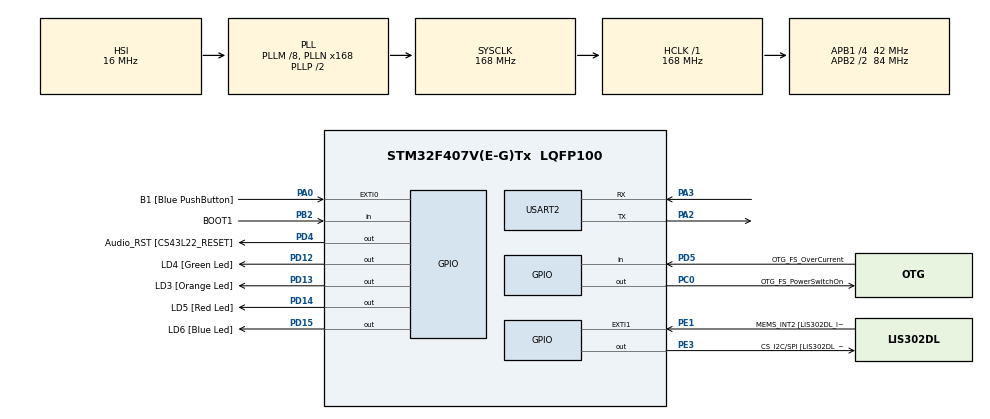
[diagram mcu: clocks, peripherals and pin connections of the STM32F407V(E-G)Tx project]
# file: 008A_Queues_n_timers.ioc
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Mcu.Family=STM32F4
Mcu.Name=STM32F407V(E-G)Tx
Mcu.Package=LQFP100
NVIC.PriorityGroup=NVIC_PRIORITYGROUP_4
NVIC.TIM6_DAC_IRQn=true\:0\:0\:false\:false\:true\:false\:true
NVIC.TimeBase=TIM6_DAC_IRQn
NVIC.TimeBaseIP=TIM6
NVIC.USART2_IRQn=true\:6\:0\:true\:false\:true\:true\:true
PA0-WKUP.GPIO_Label=B1 [Blue PushButton]
PA0-WKUP.Signal=GPXTI0
PA10.GPIO_Label=OTG_FS_ID
PA10.GPIO_Mode=GPIO_MODE_AF_PP
PA10.GPIO_PuPd=GPIO_NOPULL
PA10.GPIO_Speed=GPIO_SPEED_FREQ_LOW
PA10.Signal=USB_OTG_FS_ID
PA11.GPIO_Label=OTG_FS_DM
PA11.GPIO_Mode=GPIO_MODE_AF_PP
PA11.GPIO_PuPd=GPIO_NOPULL
PA11.GPIO_Speed=GPIO_SPEED_FREQ_LOW
PA11.Signal=USB_OTG_FS_DM
PA12.GPIO_Label=OTG_FS_DP
PA12.GPIO_Mode=GPIO_MODE_AF_PP
PA12.GPIO_PuPd=GPIO_NOPULL
PA12.GPIO_Speed=GPIO_SPEED_FREQ_LOW
PA12.Signal=USB_OTG_FS_DP
PA13.GPIO_Label=SWDIO
PA13.Signal=SYS_JTMS-SWDIO
PA14.GPIO_Label=SWCLK
PA14.Signal=SYS_JTCK-SWCLK
PA2.Mode=Asynchronous
PA2.Signal=USART2_TX
PA3.Mode=Asynchronous
PA3.Signal=USART2_RX
PA4.GPIO_Label=I2S3_WS [CS43L22_LRCK]
PA4.GPIO_Mode=GPIO_MODE_AF_PP
PA4.GPIO_PuPd=GPIO_NOPULL
PA4.GPIO_Speed=GPIO_SPEED_FREQ_LOW
PA4.Signal=I2S3_WS
PA5.GPIO_Label=SPI1_SCK [LIS302DL_SCL/SPC]
PA5.GPIO_Mode=GPIO_MODE_AF_PP
PA5.GPIO_PuPd=GPIO_NOPULL
PA5.GPIO_Speed=GPIO_SPEED_FREQ_LOW
PA5.Signal=SPI1_SCK
PA6.GPIO_Label=SPI1_MISO [LIS302DL_SDO]
PA6.GPIO_Mode=GPIO_MODE_AF_PP
PA6.GPIO_PuPd=GPIO_NOPULL
PA6.GPIO_Speed=GPIO_SPEED_FREQ_LOW
PA6.Signal=SPI1_MISO
PA7.GPIO_Label=SPI1_MOSI [LIS302DL_SDA/SDI/SDO]
PA7.GPIO_Mode=GPIO_MODE_AF_PP
PA7.GPIO_PuPd=GPIO_NOPULL
PA7.GPIO_Speed=GPIO_SPEED_FREQ_LOW
PA7.Signal=SPI1_MOSI
PA9.GPIO_Label=VBUS_FS
PA9.GPIO_Mode=GPIO_MODE_INPUT
PA9.GPIO_PuPd=GPIO_NOPULL
PA9.Signal=USB_OTG_FS_VBUS
PB10.GPIO_Label=CLK_IN [MP45DT02_CLK]
PB10.GPIO_Mode=GPIO_MODE_AF_PP
PB10.GPIO_PuPd=GPIO_NOPULL
PB10.GPIO_Speed=GPIO_SPEED_FREQ_LOW
PB10.Signal=I2S2_CK
PB2.GPIO_Label=BOOT1
PB2.GPIO_Mode=GPIO_MODE_INPUT
PB2.GPIO_PuPd=GPIO_NOPULL
PB2.Signal=GPIO_Input
PB3.GPIO_Label=SWO
PB3.Signal=SYS_JTDO-SWO
PB6.GPIO_Label=Audio_SCL [CS43L22_SCL]
PB6.GPIO_Mode=GPIO_MODE_AF_OD
PB6.GPIO_PuPd=GPIO_NOPULL
PB6.GPIO_Speed=GPIO_SPEED_FREQ_LOW
PB6.Signal=I2C1_SCL
PB9.GPIO_Label=Audio_SDA [CS43L22_SDA]
PB9.GPIO_Mode=GPIO_MODE_AF_OD
PB9.GPIO_PuPd=GPIO_NOPULL
PB9.GPIO_Speed=GPIO_SPEED_FREQ_LOW
PB9.Signal=I2C1_SDA
PC0.GPIO_Label=OTG_FS_PowerSwitchOn
PC0.GPIO_PuPd=GPIO_NOPULL
PC0.GPIO_Speed=GPIO_SPEED_FREQ_LOW
PC0.PinState=GPIO_PIN_SET
PC0.Signal=GPIO_Output
PC10.GPIO_Label=I2S3_SCK [CS43L22_SCLK]
PC10.GPIO_Mode=GPIO_MODE_AF_PP
PC10.GPIO_PuPd=GPIO_NOPULL
PC10.GPIO_Speed=GPIO_SPEED_FREQ_LOW
PC10.Signal=I2S3_CK
PC12.GPIO_Label=I2S3_SD [CS43L22_SDIN]
PC12.GPIO_Mode=GPIO_MODE_AF_PP
PC12.GPIO_PuPd=GPIO_NOPULL
PC12.GPIO_Speed=GPIO_SPEED_FREQ_LOW
PC12.Signal=I2S3_SD
PC14-OSC32_IN.GPIO_Label=PC14-OSC32_IN
PC14-OSC32_IN.Signal=RCC_OSC32_IN
PC15-OSC32_OUT.GPIO_Label=PC15-OSC32_OUT
PC15-OSC32_OUT.Signal=RCC_OSC32_OUT
PC3.GPIO_Label=PDM_OUT [MP45DT02_DOUT]
PC3.GPIO_Mode=GPIO_MODE_AF_PP
PC3.GPIO_PuPd=GPIO_NOPULL
PC3.GPIO_Speed=GPIO_SPEED_FREQ_LOW
PC3.Signal=I2S2_SD
PC7.GPIO_Label=I2S3_MCK [CS43L22_MCLK]
PC7.GPIO_Mode=GPIO_MODE_AF_PP
PC7.GPIO_PuPd=GPIO_NOPULL
PC7.GPIO_Speed=GPIO_SPEED_FREQ_LOW
PC7.Signal=I2S3_MCK
PD12.GPIO_Label=LD4 [Green Led]
PD12.GPIO_PuPd=GPIO_NOPULL
PD12.GPIO_Speed=GPIO_SPEED_FREQ_LOW
PD12.Signal=GPIO_Output
PD13.GPIO_Label=LD3 [Orange Led]
PD13.GPIO_PuPd=GPIO_NOPULL
PD13.GPIO_Speed=GPIO_SPEED_FREQ_LOW
PD13.Signal=GPIO_Output
PD14.GPIO_Label=LD5 [Red Led]
PD14.GPIO_PuPd=GPIO_NOPULL
PD14.GPIO_Speed=GPIO_SPEED_FREQ_LOW
PD14.Signal=GPIO_Output
PD15.GPIO_Label=LD6 [Blue Led]
PD15.GPIO_PuPd=GPIO_NOPULL
PD15.GPIO_Speed=GPIO_SPEED_FREQ_LOW
PD15.Signal=GPIO_Output
PD4.GPIO_Label=Audio_RST [CS43L22_RESET]
PD4.GPIO_PuPd=GPIO_NOPULL
PD4.GPIO_Speed=GPIO_SPEED_FREQ_LOW
PD4.Signal=GPIO_Output
PD5.GPIO_Label=OTG_FS_OverCurrent
PD5.GPIO_Mode=GPIO_MODE_INPUT
PD5.GPIO_PuPd=GPIO_NOPULL
PD5.Signal=GPIO_Input
PE1.GPIO_Label=MEMS_INT2 [LIS302DL_INT2]
PE1.GPIO_ModeDefaultEXTI=GPIO_MODE_EVT_RISING
PE1.GPIO_PuPd=GPIO_NOPULL
PE1.Signal=GPXTI1
PE3.GPIO_Label=CS_I2C/SPI [LIS302DL_CS_I2C/SPI]
PE3.GPIO_PuPd=GPIO_NOPULL
PE3.GPIO_Speed=GPIO_SPEED_FREQ_LOW
PE3.Signal=GPIO_Output
PH0-OSC_IN.GPIO_Label=PH0-OSC_IN
PH0-OSC_IN.Signal=RCC_OSC_IN
PH1-OSC_OUT.GPIO_Label=PH1-OSC_OUT
PH1-OSC_OUT.Signal=RCC_OSC_OUT
ProjectManager.HeapSize=0x200
ProjectManager.StackSize=0x400
ProjectManager.TargetToolchain=STM32CubeIDE
RCC.48MHZClocksFreq_Value=48000000
RCC.AHBFreq_Value=168000000
RCC.APB1CLKDivider=RCC_HCLK_DIV4
RCC.APB1Freq_Value=42000000
RCC.APB1TimFreq_Value=84000000
RCC.APB2CLKDivider=RCC_HCLK_DIV2
RCC.APB2Freq_Value=84000000
RCC.APB2TimFreq_Value=168000000
RCC.CortexFreq_Value=168000000
RCC.HCLKFreq_Value=168000000
RCC.HSE_VALUE=8000000
RCC.HSI_VALUE=16000000
RCC.LSE_VALUE=32768
RCC.PLLM=8
RCC.PLLN=168
RCC.PLLQ=7
RCC.SYSCLKFreq_VALUE=168000000
RCC.SYSCLKSource=RCC_SYSCLKSOURCE_PLLCLK
RCC.VCOOutputFreq_Value=336000000
RTC.HourFormat=RTC_HOURFORMAT_12
USART2.VirtualMode=VM_ASYNC
VP_RTC_VS_RTC_Activate.Mode=RTC_Enabled
VP_SYS_VS_tim6.Mode=TIM6
board=STM32F407G-DISC1

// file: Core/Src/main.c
/* USER CODE BEGIN Header */
/**
  ******************************************************************************
  * @file           : main.c
  * @brief          : Main program body
  ******************************************************************************
  * @attention
  *
  * Copyright (c) 2024 STMicroelectronics.
  * All rights reserved.
  *
  * This software is licensed under terms that can be found in the LICENSE file
  * in the root directory of this software component.
  * If no LICENSE file comes with this software, it is provided AS-IS.
  *
  ******************************************************************************
  */
/* USER CODE END Header */
#include "main.h"

RTC_HandleTypeDef hrtc;

UART_HandleTypeDef huart2;

/* USER CODE BEGIN PV */
TaskHandle_t menue_handle;
TaskHandle_t cmd_handle;
TaskHandle_t led_handle;
TaskHandle_t rtc_handle;
TaskHandle_t print_handle;

QueueHandle_t q_data,q_print;

TimerHandle_t led_timer_handle[4];

uint8_t current_state=sMainmenu;

volatile uint8_t user_data;

/* USER CODE END PV */

void SystemClock_Config(void);
static void MX_GPIO_Init(void);
static void MX_RTC_Init(void);
static void MX_USART2_UART_Init(void);
/* USER CODE BEGIN PFP */

void menu_handler(void *parameters);
void cmd_handler(void *parameters);
void led_handler(void *parameters);
void rtc_handler(void *parameters);
void print_handler(void *parameters);

void led_effect_callback(TimerHandle_t xTimer);

void LED_effect1(void);
void LED_effect2(void);
void LED_effect3(void);
void LED_effect4(void);
/* USER CODE END PFP */

int main(void)
{
  /* USER CODE BEGIN 1 */
	BaseType_t status;

  /* USER CODE END 1 */

  /* MCU Configuration--------------------------------------------------------*/

  /* Reset of all peripherals, Initializes the Flash interface and the Systick. */
  HAL_Init();

  /* Configure the system clock */
  SystemClock_Config();

  /* Initialize all configured peripherals */
  MX_GPIO_Init();
  MX_RTC_Init();
  MX_USART2_UART_Init();
  /* USER CODE BEGIN 2 */

  status= xTaskCreate(menu_handler, "menue-task", 250, NULL, 2, &menue_handle);

  configASSERT(status==pdPASS);

  status= xTaskCreate(cmd_handler, "cmd-task", 250, NULL, 2, &cmd_handle);

  configASSERT(status==pdPASS);

  status= xTaskCreate(led_handler, "led-task", 250, NULL, 2, &led_handle);

  configASSERT(status==pdPASS);

  status= xTaskCreate(rtc_handler, "rtc-task", 250, NULL, 2, &rtc_handle);

  configASSERT(status==pdPASS);

  status= xTaskCreate(print_handler, "print-task", 250, NULL, 2, &print_handle);

  configASSERT(status==pdPASS);

  q_data= xQueueCreate(10, sizeof(char));

  configASSERT(q_data != NULL);

  q_print= xQueueCreate(10, sizeof(size_t ));

  configASSERT(q_print != NULL);

  for(int i=0; i<4; i++)
	  led_timer_handle[i]=xTimerCreate("led_timer", pdMS_TO_TICKS(500), pdTRUE, (void*)(i+1), led_effect_callback);

  HAL_UART_Receive_IT(&huart2,(uint8_t*)&user_data, 1);

  vTaskStartScheduler();

  /* USER CODE END 2 */

  /* Infinite loop */
  while (1)
  {

  }
}

void SystemClock_Config(void)
{
  RCC_OscInitTypeDef RCC_OscInitStruct = {0};
  RCC_ClkInitTypeDef RCC_ClkInitStruct = {0};

  /** Configure the main internal regulator output voltage
  */
  __HAL_RCC_PWR_CLK_ENABLE();
  __HAL_PWR_VOLTAGESCALING_CONFIG(PWR_REGULATOR_VOLTAGE_SCALE1);
  /** Initializes the RCC Oscillators according to the specified parameters
  * in the RCC_OscInitTypeDef structure.
  */
  RCC_OscInitStruct.OscillatorType = RCC_OSCILLATORTYPE_HSI|RCC_OSCILLATORTYPE_LSI;
  RCC_OscInitStruct.HSIState = RCC_HSI_ON;
  RCC_OscInitStruct.HSICalibrationValue = RCC_HSICALIBRATION_DEFAULT;
  RCC_OscInitStruct.LSIState = RCC_LSI_ON;
  RCC_OscInitStruct.PLL.PLLState = RCC_PLL_ON;
  RCC_OscInitStruct.PLL.PLLSource = RCC_PLLSOURCE_HSI;
  RCC_OscInitStruct.PLL.PLLM = 8;
  RCC_OscInitStruct.PLL.PLLN = 168;
  RCC_OscInitStruct.PLL.PLLP = RCC_PLLP_DIV2;
  RCC_OscInitStruct.PLL.PLLQ = 7;
  if (HAL_RCC_OscConfig(&RCC_OscInitStruct) != HAL_OK)
  {
    Error_Handler();
  }
  /** Initializes the CPU, AHB and APB buses clocks
  */
  RCC_ClkInitStruct.ClockType = RCC_CLOCKTYPE_HCLK|RCC_CLOCKTYPE_SYSCLK
                              |RCC_CLOCKTYPE_PCLK1|RCC_CLOCKTYPE_PCLK2;
  RCC_ClkInitStruct.SYSCLKSource = RCC_SYSCLKSOURCE_PLLCLK;
  RCC_ClkInitStruct.AHBCLKDivider = RCC_SYSCLK_DIV1;
  RCC_ClkInitStruct.APB1CLKDivider = RCC_HCLK_DIV4;
  RCC_ClkInitStruct.APB2CLKDivider = RCC_HCLK_DIV2;

  if (HAL_RCC_ClockConfig(&RCC_ClkInitStruct, FLASH_LATENCY_5) != HAL_OK)
  {
    Error_Handler();
  }
}

static void MX_RTC_Init(void)
{

  /** Initialize RTC Only
  */
  hrtc.Instance = RTC;
  hrtc.Init.HourFormat = RTC_HOURFORMAT_12;
  hrtc.Init.AsynchPrediv = 127;
  hrtc.Init.SynchPrediv = 255;
  hrtc.Init.OutPut = RTC_OUTPUT_DISABLE;
  hrtc.Init.OutPutPolarity = RTC_OUTPUT_POLARITY_HIGH;
  hrtc.Init.OutPutType = RTC_OUTPUT_TYPE_OPENDRAIN;
  if (HAL_RTC_Init(&hrtc) != HAL_OK)
  {
    Error_Handler();
  }

}

static void MX_USART2_UART_Init(void)
{

  huart2.Instance = USART2;
  huart2.Init.BaudRate = 115200;
  huart2.Init.WordLength = UART_WORDLENGTH_8B;
  huart2.Init.StopBits = UART_STOPBITS_1;
  huart2.Init.Parity = UART_PARITY_NONE;
  huart2.Init.Mode = UART_MODE_TX_RX;
  huart2.Init.HwFlowCtl = UART_HWCONTROL_NONE;
  huart2.Init.OverSampling = UART_OVERSAMPLING_16;
  if (HAL_UART_Init(&huart2) != HAL_OK)
  {
    Error_Handler();
  }

}

static void MX_GPIO_Init(void)
{
  GPIO_InitTypeDef GPIO_InitStruct = {0};

  /* GPIO Ports Clock Enable */
  __HAL_RCC_GPIOE_CLK_ENABLE();
  __HAL_RCC_GPIOC_CLK_ENABLE();
  __HAL_RCC_GPIOH_CLK_ENABLE();
  __HAL_RCC_GPIOA_CLK_ENABLE();
  __HAL_RCC_GPIOB_CLK_ENABLE();
  __HAL_RCC_GPIOD_CLK_ENABLE();

  /*Configure GPIO pin Output Level */
  HAL_GPIO_WritePin(CS_I2C_SPI_GPIO_Port, CS_I2C_SPI_Pin, GPIO_PIN_RESET);

  /*Configure GPIO pin Output Level */
  HAL_GPIO_WritePin(OTG_FS_PowerSwitchOn_GPIO_Port, OTG_FS_PowerSwitchOn_Pin, GPIO_PIN_SET);

  /*Configure GPIO pin Output Level */
  HAL_GPIO_WritePin(GPIOD, LD4_Pin|LD3_Pin|LD5_Pin|LD6_Pin
                          |Audio_RST_Pin, GPIO_PIN_RESET);

  /*Configure GPIO pin : CS_I2C_SPI_Pin */
  GPIO_InitStruct.Pin = CS_I2C_SPI_Pin;
  GPIO_InitStruct.Mode = GPIO_MODE_OUTPUT_PP;
  GPIO_InitStruct.Pull = GPIO_NOPULL;
  GPIO_InitStruct.Speed = GPIO_SPEED_FREQ_LOW;
  HAL_GPIO_Init(CS_I2C_SPI_GPIO_Port, &GPIO_InitStruct);

  /*Configure GPIO pin : OTG_FS_PowerSwitchOn_Pin */
  GPIO_InitStruct.Pin = OTG_FS_PowerSwitchOn_Pin;
  GPIO_InitStruct.Mode = GPIO_MODE_OUTPUT_PP;
  GPIO_InitStruct.Pull = GPIO_NOPULL;
  GPIO_InitStruct.Speed = GPIO_SPEED_FREQ_LOW;
  HAL_GPIO_Init(OTG_FS_PowerSwitchOn_GPIO_Port, &GPIO_InitStruct);

  /*Configure GPIO pin : PDM_OUT_Pin */
  GPIO_InitStruct.Pin = PDM_OUT_Pin;
  GPIO_InitStruct.Mode = GPIO_MODE_AF_PP;
  GPIO_InitStruct.Pull = GPIO_NOPULL;
  GPIO_InitStruct.Speed = GPIO_SPEED_FREQ_LOW;
  GPIO_InitStruct.Alternate = GPIO_AF5_SPI2;
  HAL_GPIO_Init(PDM_OUT_GPIO_Port, &GPIO_InitStruct);

  /*Configure GPIO pin : B1_Pin */
  GPIO_InitStruct.Pin = B1_Pin;
  GPIO_InitStruct.Mode = GPIO_MODE_IT_RISING;
  GPIO_InitStruct.Pull = GPIO_NOPULL;
  HAL_GPIO_Init(B1_GPIO_Port, &GPIO_InitStruct);

  /*Configure GPIO pin : I2S3_WS_Pin */
  GPIO_InitStruct.Pin = I2S3_WS_Pin;
  GPIO_InitStruct.Mode = GPIO_MODE_AF_PP;
  GPIO_InitStruct.Pull = GPIO_NOPULL;
  GPIO_InitStruct.Speed = GPIO_SPEED_FREQ_LOW;
  GPIO_InitStruct.Alternate = GPIO_AF6_SPI3;
  HAL_GPIO_Init(I2S3_WS_GPIO_Port, &GPIO_InitStruct);

  /*Configure GPIO pins : SPI1_SCK_Pin SPI1_MISO_Pin SPI1_MOSI_Pin */
  GPIO_InitStruct.Pin = SPI1_SCK_Pin|SPI1_MISO_Pin|SPI1_MOSI_Pin;
  GPIO_InitStruct.Mode = GPIO_MODE_AF_PP;
  GPIO_InitStruct.Pull = GPIO_NOPULL;
  GPIO_InitStruct.Speed = GPIO_SPEED_FREQ_LOW;
  GPIO_InitStruct.Alternate = GPIO_AF5_SPI1;
  HAL_GPIO_Init(GPIOA, &GPIO_InitStruct);

  /*Configure GPIO pin : BOOT1_Pin */
  GPIO_InitStruct.Pin = BOOT1_Pin;
  GPIO_InitStruct.Mode = GPIO_MODE_INPUT;
  GPIO_InitStruct.Pull = GPIO_NOPULL;
  HAL_GPIO_Init(BOOT1_GPIO_Port, &GPIO_InitStruct);

  /*Configure GPIO pin : CLK_IN_Pin */
  GPIO_InitStruct.Pin = CLK_IN_Pin;
  GPIO_InitStruct.Mode = GPIO_MODE_AF_PP;
  GPIO_InitStruct.Pull = GPIO_NOPULL;
  GPIO_InitStruct.Speed = GPIO_SPEED_FREQ_LOW;
  GPIO_InitStruct.Alternate = GPIO_AF5_SPI2;
  HAL_GPIO_Init(CLK_IN_GPIO_Port, &GPIO_InitStruct);

  /*Configure GPIO pins : LD4_Pin LD3_Pin LD5_Pin LD6_Pin
                           Audio_RST_Pin */
  GPIO_InitStruct.Pin = LD4_Pin|LD3_Pin|LD5_Pin|LD6_Pin
                          |Audio_RST_Pin;
  GPIO_InitStruct.Mode = GPIO_MODE_OUTPUT_PP;
  GPIO_InitStruct.Pull = GPIO_NOPULL;
  GPIO_InitStruct.Speed = GPIO_SPEED_FREQ_LOW;
  HAL_GPIO_Init(GPIOD, &GPIO_InitStruct);

  /*Configure GPIO pins : I2S3_MCK_Pin I2S3_SCK_Pin I2S3_SD_Pin */
  GPIO_InitStruct.Pin = I2S3_MCK_Pin|I2S3_SCK_Pin|I2S3_SD_Pin;
  GPIO_InitStruct.Mode = GPIO_MODE_AF_PP;
  GPIO_InitStruct.Pull = GPIO_NOPULL;
  GPIO_InitStruct.Speed = GPIO_SPEED_FREQ_LOW;
  GPIO_InitStruct.Alternate = GPIO_AF6_SPI3;
  HAL_GPIO_Init(GPIOC, &GPIO_InitStruct);

  /*Configure GPIO pin : VBUS_FS_Pin */
  GPIO_InitStruct.Pin = VBUS_FS_Pin;
  GPIO_InitStruct.Mode = GPIO_MODE_INPUT;
  GPIO_InitStruct.Pull = GPIO_NOPULL;
  HAL_GPIO_Init(VBUS_FS_GPIO_Port, &GPIO_InitStruct);

  /*Configure GPIO pins : OTG_FS_ID_Pin OTG_FS_DM_Pin OTG_FS_DP_Pin */
  GPIO_InitStruct.Pin = OTG_FS_ID_Pin|OTG_FS_DM_Pin|OTG_FS_DP_Pin;
  GPIO_InitStruct.Mode = GPIO_MODE_AF_PP;
  GPIO_InitStruct.Pull = GPIO_NOPULL;
  GPIO_InitStruct.Speed = GPIO_SPEED_FREQ_LOW;
  GPIO_InitStruct.Alternate = GPIO_AF10_OTG_FS;
  HAL_GPIO_Init(GPIOA, &GPIO_InitStruct);

  /*Configure GPIO pin : OTG_FS_OverCurrent_Pin */
  GPIO_InitStruct.Pin = OTG_FS_OverCurrent_Pin;
  GPIO_InitStruct.Mode = GPIO_MODE_INPUT;
  GPIO_InitStruct.Pull = GPIO_NOPULL;
  HAL_GPIO_Init(OTG_FS_OverCurrent_GPIO_Port, &GPIO_InitStruct);

  /*Configure GPIO pins : Audio_SCL_Pin Audio_SDA_Pin */
  GPIO_InitStruct.Pin = Audio_SCL_Pin|Audio_SDA_Pin;
  GPIO_InitStruct.Mode = GPIO_MODE_AF_OD;
  GPIO_InitStruct.Pull = GPIO_NOPULL;
  GPIO_InitStruct.Speed = GPIO_SPEED_FREQ_LOW;
  GPIO_InitStruct.Alternate = GPIO_AF4_I2C1;
  HAL_GPIO_Init(GPIOB, &GPIO_InitStruct);

  /*Configure GPIO pin : MEMS_INT2_Pin */
  GPIO_InitStruct.Pin = MEMS_INT2_Pin;
  GPIO_InitStruct.Mode = GPIO_MODE_EVT_RISING;
  GPIO_InitStruct.Pull = GPIO_NOPULL;
  HAL_GPIO_Init(MEMS_INT2_GPIO_Port, &GPIO_InitStruct);

}

/* USER CODE BEGIN 4 */
void HAL_UART_RxCpltCallback(UART_HandleTypeDef *huart)
{

	uint8_t dummy;
	for(uint32_t i=0;i<4000;i++);

	if (!xQueueIsQueueFullFromISR(q_data))
	{
		xQueueSendFromISR(q_data,(void*)&user_data,NULL);

	}
	else
	{
		if(user_data=='\n')
		{
			xQueueReceiveFromISR(q_data,(void*)&dummy, NULL);
			xQueueSendFromISR(q_data, (void*)&user_data, NULL);
		}
	}
	if (user_data == '\n')
	{
		xTaskNotifyFromISR(cmd_handle,0,eNoAction,NULL);
	}

	HAL_UART_Receive_IT(&huart2, (uint8_t*)&user_data, 1);

}

void led_effect_callback(TimerHandle_t xTimer)
{
	int id;
	id=(uint32_t)pvTimerGetTimerID(xTimer);

	switch(id)
	{
	case 1:
		LED_effect1();
		break;
	case 2:
		LED_effect2();
		break;
	case 3:
		LED_effect3();
		break;
	case 4:
		LED_effect4();
		//break;

	}

}

/* USER CODE END 4 */

void HAL_TIM_PeriodElapsedCallback(TIM_HandleTypeDef *htim)
{
  if (htim->Instance == TIM6) {
    HAL_IncTick();
  }
}

void Error_Handler(void)
{
  __disable_irq();
  while (1)
  {
  }
}
